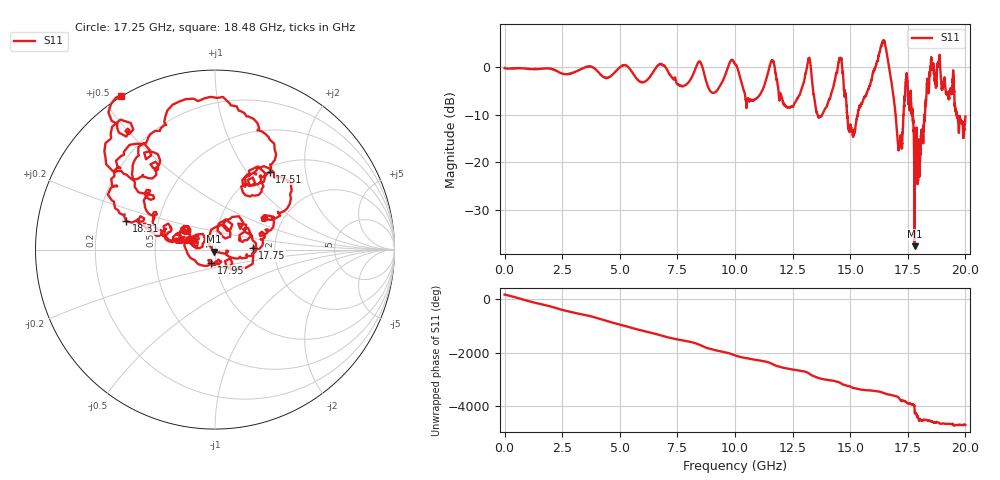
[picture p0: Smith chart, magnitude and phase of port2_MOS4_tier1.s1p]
! Created with skrf 1.8.0 (http://scikit-rf.org).
# GHz S RI R 50.0
!freq ReS11 ImS11
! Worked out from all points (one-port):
!   10000 points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, 3 MHz to 20 GHz, reference 50 ohm
!   lowest |S11| = -37.6 dB at 17.79 GHz (marker M1), VSWR 1.03, Z = 49.3 - j1.08 ohm
!   |S11| at or under -10 dB: 14.87 GHz to 15.33 GHz (463.8 MHz wide, 3.07 % of centre); 17.71 GHz to 18.25 GHz (542.2 MHz wide, 3.02 % of centre); 19.63 GHz to end of sweep (the widest 3 of 11)
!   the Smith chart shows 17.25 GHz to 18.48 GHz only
!   S11 on the Smith chart (normalised r, x): 17.25 GHz: 0.77, +0.09; 17.51 GHz: 1.07, +1.29; 17.75 GHz: 1.53, +0.03; 17.95 GHz: 0.95, -0.14; 18.31 GHz: 0.32, +0.14; 18.48 GHz: -0.00, +0.56
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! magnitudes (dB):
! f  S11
! 3 MHz  -0.3
! 2.503 GHz  -1.4
! 5.003 GHz  -0.1
! 7.503 GHz  -3.7
! 8.463 GHz  1.1
! 9.101 GHz  -5.4
! 10 GHz  0.6
! 10.58 GHz  -6.6
! 11.63 GHz  1.3
! 11.99 GHz  -5.9
! 12.5 GHz  -8.3
! 13.21 GHz  1.7
! 13.72 GHz  -10.3
! 14.56 GHz  1.6
! 15 GHz  -12.3
! 16.44 GHz  5.5
! 17.08 GHz  -16.6
! 17.25 GHz  -17.1
! 17.4 GHz  -3.5
! 17.5 GHz  -4.8
! 17.51 GHz  -5.5
! 17.75 GHz  -13.6
! 17.79 GHz  -37.6
! 17.95 GHz  -22.2
! 18.31 GHz  -5.7
! 18.48 GHz  0.0
! 18.86 GHz  1.5
! 20 GHz  -10.4
